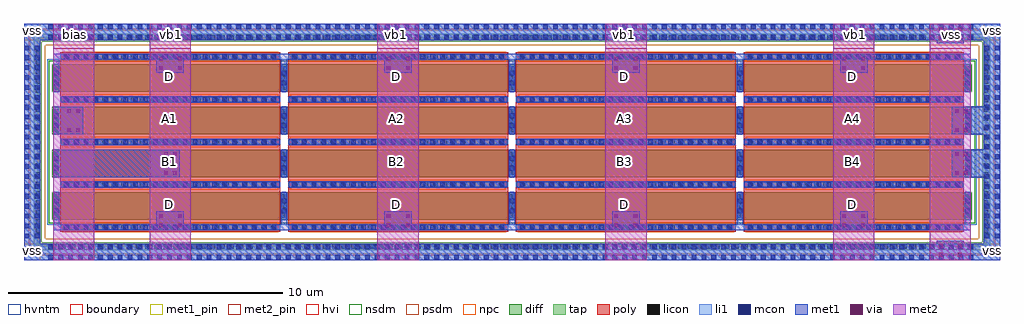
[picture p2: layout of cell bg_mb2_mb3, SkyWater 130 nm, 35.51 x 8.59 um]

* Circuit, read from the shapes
.subckt bg_mb2_mb3 bias vb1 vss
XM1 vb1 vb1 vb1 vss sky130_fd_pr__nfet_g5v0d10v5 w=1 l=8 m=8
XM2 n1 vb1 vb1 vss sky130_fd_pr__nfet_g5v0d10v5 w=1 l=8
XM3 n2 vb1 bias vss sky130_fd_pr__nfet_g5v0d10v5 w=1 l=8
XM4 n3 vb1 n1 vss sky130_fd_pr__nfet_g5v0d10v5 w=1 l=8
XM5 n4 vb1 n2 vss sky130_fd_pr__nfet_g5v0d10v5 w=1 l=8
XM6 n5 vb1 n3 vss sky130_fd_pr__nfet_g5v0d10v5 w=1 l=8
XM7 n6 vb1 n4 vss sky130_fd_pr__nfet_g5v0d10v5 w=1 l=8
XM8 vss vb1 n5 vss sky130_fd_pr__nfet_g5v0d10v5 w=1 l=8
XM9 vss vb1 n6 vss sky130_fd_pr__nfet_g5v0d10v5 w=1 l=8
.ends

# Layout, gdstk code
from math import pi, radians
import gdstk
lib = gdstk.Library(unit=1e-6, precision=1e-09)
def R(c, l, rs):  # rectangles x0, y0, x1, y1
    for r in rs: c.add(gdstk.rectangle(r[:2], r[2:], *l))
def A(c, l, x, y, w, h, nx, ny, dx, dy):  # array of equal rectangles
    R(c, l, [(x+i*dx, y+j*dy, x+i*dx+w, y+j*dy+h) for i in range(nx) for j in range(ny)])
def P(c, l, *ps):  # polygons
    for p in ps: c.add(gdstk.Polygon(p, *l))
diff = (65, 20)
tap = (65, 44)
poly = (66, 20)
licon = (66, 44)
li1 = (67, 20)
mcon = (67, 44)
met1_pin = (68, 16)
met1 = (68, 20)
via = (68, 44)
met2_pin = (69, 16)
met2 = (69, 20)
hvi = (75, 20)
nsdm = (93, 44)
psdm = (94, 20)
npc = (95, 20)
hvntm = (125, 20)
boundary = (235, 4)

via__li_m1 = lib.new_cell('via__LI_M1')
R(via__li_m1, li1, [(0.03,0.03,0.56,0.2)])
R(via__li_m1, mcon, [(0.03,0.03,0.2,0.2), (0.39,0.03,0.56,0.2)])
R(via__li_m1, met1, [(0,0,0.59,0.23)])

via__m1_m2 = lib.new_cell('via__M1_M2')
R(via__m1_m2, met1, [(0,0.05,0.7,0.35)])
R(via__m1_m2, via, [(0.115,0.125,0.265,0.275), (0.435,0.125,0.585,0.275)])
R(via__m1_m2, met2, [(0.05,0,0.65,0.4)])

bg_mb2_mb3_sd_cont = lib.new_cell('bg_mb2_mb3_sd_cont')
R(bg_mb2_mb3_sd_cont, met1, [(0,0.05,0.7,1.05)])
R(bg_mb2_mb3_sd_cont, met2, [(0.05,0,0.65,1.1)])
bg_mb2_mb3_sd_cont.add(gdstk.Reference(via__m1_m2, (0.7,0.4), rotation=pi))
bg_mb2_mb3_sd_cont.add(gdstk.Reference(via__m1_m2, (0.7,1.1), rotation=pi))

sky130_fd_pr__nfet_g5v0d = lib.new_cell('sky130_fd_pr__nfet_g5v0d10v5_VMQRTJ')
A(sky130_fd_pr__nfet_g5v0d, diff, -16.725, -2.825, 33.45, 1, 1, 4, 0, 1.55)
R(sky130_fd_pr__nfet_g5v0d, tap, [(-17.395,-3.935,17.395,-3.645), (-17.395,-3.645,-17.105,3.645), (17.105,-3.645,17.395,3.645), (-17.395,3.645,17.395,3.935)])
A(sky130_fd_pr__nfet_g5v0d, poly, -16.435, -3.265, 8, 6.53, 4, 1, 8.29, 0)
A(sky130_fd_pr__nfet_g5v0d, licon, -16.745, -3.875, 0.17, 0.17, 99, 2, 0.34, 7.58)
A(sky130_fd_pr__nfet_g5v0d, licon, -17.335, -3.315, 0.17, 0.17, 1, 20, 0, 0.34)
A(sky130_fd_pr__nfet_g5v0d, licon, 17.165, -3.315, 0.17, 0.17, 1, 20, 0, 0.34)
A(sky130_fd_pr__nfet_g5v0d, licon, -16.26, -3.185, 0.17, 0.17, 23, 5, 0.34, 1.55)
A(sky130_fd_pr__nfet_g5v0d, licon, -7.97, -3.185, 0.17, 0.17, 23, 5, 0.34, 1.55)
A(sky130_fd_pr__nfet_g5v0d, licon, 0.32, -3.185, 0.17, 0.17, 23, 5, 0.34, 1.55)
A(sky130_fd_pr__nfet_g5v0d, licon, 8.61, -3.185, 0.17, 0.17, 23, 5, 0.34, 1.55)
A(sky130_fd_pr__nfet_g5v0d, licon, -16.665, -2.75, 0.17, 0.17, 5, 3, 8.29, 0.34)
A(sky130_fd_pr__nfet_g5v0d, licon, -16.665, -1.2, 0.17, 0.17, 5, 3, 8.29, 0.34)
A(sky130_fd_pr__nfet_g5v0d, licon, -16.665, 0.35, 0.17, 0.17, 5, 3, 8.29, 0.34)
A(sky130_fd_pr__nfet_g5v0d, licon, -16.665, 1.9, 0.17, 0.17, 5, 3, 8.29, 0.34)
A(sky130_fd_pr__nfet_g5v0d, li1, -16.435, -3.185, 8, 0.17, 4, 5, 8.29, 1.55)
A(sky130_fd_pr__nfet_g5v0d, li1, -16.665, -2.845, 0.17, 1.04, 5, 4, 8.29, 1.55)
R(sky130_fd_pr__nfet_g5v0d, li1, [(-17.335,-3.875,17.335,-3.705), (-17.335,-3.705,-17.165,3.705), (17.165,-3.705,17.335,3.705), (-17.335,3.705,17.335,3.875)])
A(sky130_fd_pr__nfet_g5v0d, mcon, -16.3, -3.185, 0.17, 0.17, 22, 5, 0.36, 1.55)
A(sky130_fd_pr__nfet_g5v0d, mcon, -8.01, -3.185, 0.17, 0.17, 22, 5, 0.36, 1.55)
A(sky130_fd_pr__nfet_g5v0d, mcon, 0.28, -3.185, 0.17, 0.17, 22, 5, 0.36, 1.55)
A(sky130_fd_pr__nfet_g5v0d, mcon, 8.57, -3.185, 0.17, 0.17, 22, 5, 0.36, 1.55)
A(sky130_fd_pr__nfet_g5v0d, mcon, -16.665, -2.59, 0.17, 0.17, 5, 2, 8.29, 0.36)
A(sky130_fd_pr__nfet_g5v0d, mcon, -16.665, -1.04, 0.17, 0.17, 5, 2, 8.29, 0.36)
A(sky130_fd_pr__nfet_g5v0d, mcon, -16.665, 0.51, 0.17, 0.17, 5, 2, 8.29, 0.36)
A(sky130_fd_pr__nfet_g5v0d, mcon, -16.665, 2.06, 0.17, 0.17, 5, 2, 8.29, 0.36)
A(sky130_fd_pr__nfet_g5v0d, met1, -16.415, -3.215, 7.96, 0.23, 4, 5, 8.29, 1.55)
A(sky130_fd_pr__nfet_g5v0d, met1, -16.695, -2.825, 0.23, 1, 5, 4, 8.29, 1.55)
R(sky130_fd_pr__nfet_g5v0d, hvi, [(-17.58,-4.12,17.58,4.12)])
R(sky130_fd_pr__nfet_g5v0d, nsdm, [(-16.85,-2.95,16.85,2.95)])
R(sky130_fd_pr__nfet_g5v0d, psdm, [(-17.52,-4.06,17.52,-3.52), (-17.52,-3.52,-16.98,3.52), (16.98,-3.52,17.52,3.52), (-17.52,3.52,17.52,4.06)])
A(sky130_fd_pr__nfet_g5v0d, npc, -16.36, -3.285, 7.85, 0.37, 4, 5, 8.29, 1.55)
R(sky130_fd_pr__nfet_g5v0d, hvntm, [(-16.91,-3.01,16.91,3.01)])
R(sky130_fd_pr__nfet_g5v0d, boundary, [(-17.25,-3.79,17.25,3.79)])

bg_mb2_mb3 = lib.new_cell('bg_mb2_mb3')
R(bg_mb2_mb3, li1, [(-0.505,-0.505,0.085,8.085), (-0.505,-0.505,35.005,0.085), (34.415,-0.505,35.005,8.085), (33.915,2.495,34.415,3.535), (33.915,4.045,34.415,5.085), (-0.505,7.495,35.005,8.085)])
R(bg_mb2_mb3, met1_pin, [(-0.505,-0.505,0.085,0.085), (34.415,-0.505,35.005,0.085), (-0.505,7.495,0.085,8.085), (34.415,7.495,35.005,8.085)])
R(bg_mb2_mb3, met1, [(-0.505,-0.505,0.085,8.085), (-0.505,-0.505,35.005,0.085), (34.415,-0.505,35.005,8.085), (0.555,2.515,5.165,3.515), (33.945,2.515,34.415,3.515), (0.555,4.065,1.655,5.065), (33.945,4.065,34.415,5.065), (-0.505,7.495,35.005,8.085)])
P(bg_mb2_mb3, met1, [(33.665,0.575),(33.665,0.805),(33.715,0.805),(33.715,0.965),(33.945,0.965),(33.945,0.575)],
  [(0.555,0.575),(0.555,0.965),(0.785,0.965),(0.785,0.805),(0.835,0.805),(0.835,0.575)],
  [(8.795,0.575),(8.795,0.805),(8.845,0.805),(8.845,0.965),(9.075,0.965),(9.075,0.805),(9.125,0.805),(9.125,0.575)],
  [(17.085,0.575),(17.085,0.805),(17.135,0.805),(17.135,0.965),(17.365,0.965),(17.365,0.805),(17.415,0.805),(17.415,0.575)],
  [(25.375,0.575),(25.375,0.805),(25.425,0.805),(25.425,0.965),(25.655,0.965),(25.655,0.805),(25.705,0.805),(25.705,0.575)],
  [(33.715,6.615),(33.715,6.775),(33.665,6.775),(33.665,7.005),(33.945,7.005),(33.945,6.615)],
  [(0.555,6.615),(0.555,7.005),(0.835,7.005),(0.835,6.775),(0.785,6.775),(0.785,6.615)],
  [(8.845,6.615),(8.845,6.775),(8.795,6.775),(8.795,7.005),(9.125,7.005),(9.125,6.775),(9.075,6.775),(9.075,6.615)],
  [(17.135,6.615),(17.135,6.775),(17.085,6.775),(17.085,7.005),(17.415,7.005),(17.415,6.775),(17.365,6.775),(17.365,6.615)],
  [(25.425,6.615),(25.425,6.775),(25.375,6.775),(25.375,7.005),(25.705,7.005),(25.705,6.775),(25.655,6.775),(25.655,6.615)])
A(bg_mb2_mb3, met2_pin, 4.065, 7.19, 1.5, 0.895, 4, 1, 8.29, 0)
R(bg_mb2_mb3, met2_pin, [(0.555,7.19,2.055,8.085), (32.445,7.19,33.945,8.085)])
A(bg_mb2_mb3, met2, 4.065, -0.505, 1.5, 8.59, 4, 1, 8.29, 0)
R(bg_mb2_mb3, met2, [(0.555,-0.505,2.055,8.085), (32.445,-0.505,33.945,8.085)])
bg_mb2_mb3.add(gdstk.Reference(via__li_m1, (0.085,0.49), rotation=pi))
bg_mb2_mb3.add(gdstk.Reference(via__li_m1, (0.085,0.85), rotation=pi))
bg_mb2_mb3.add(gdstk.Reference(via__li_m1, (0.085,1.21), rotation=pi))
bg_mb2_mb3.add(gdstk.Reference(via__li_m1, (0.085,1.57), rotation=pi))
bg_mb2_mb3.add(gdstk.Reference(via__li_m1, (0.085,1.93), rotation=pi))
bg_mb2_mb3.add(gdstk.Reference(via__li_m1, (0.085,2.29), rotation=pi))
bg_mb2_mb3.add(gdstk.Reference(via__li_m1, (0.085,2.65), rotation=pi))
bg_mb2_mb3.add(gdstk.Reference(via__li_m1, (0.085,3.01), rotation=pi))
bg_mb2_mb3.add(gdstk.Reference(via__li_m1, (0.085,3.37), rotation=pi))
bg_mb2_mb3.add(gdstk.Reference(via__li_m1, (0.085,3.73), rotation=pi))
bg_mb2_mb3.add(gdstk.Reference(via__li_m1, (0.085,4.09), rotation=pi))
bg_mb2_mb3.add(gdstk.Reference(via__li_m1, (0.085,4.45), rotation=pi))
bg_mb2_mb3.add(gdstk.Reference(via__li_m1, (0.085,4.81), rotation=pi))
bg_mb2_mb3.add(gdstk.Reference(via__li_m1, (0.085,5.17), rotation=pi))
bg_mb2_mb3.add(gdstk.Reference(via__li_m1, (0.085,5.53), rotation=pi))
bg_mb2_mb3.add(gdstk.Reference(via__li_m1, (0.085,5.89), rotation=pi))
bg_mb2_mb3.add(gdstk.Reference(via__li_m1, (0.085,6.25), rotation=pi))
bg_mb2_mb3.add(gdstk.Reference(via__li_m1, (0.085,6.61), rotation=pi))
bg_mb2_mb3.add(gdstk.Reference(via__li_m1, (0.085,6.97), rotation=pi))
bg_mb2_mb3.add(gdstk.Reference(via__li_m1, (0.085,7.33), rotation=pi))
bg_mb2_mb3.add(gdstk.Reference(bg_mb2_mb3_sd_cont, (4.465,2.465)))
bg_mb2_mb3.add(gdstk.Reference(bg_mb2_mb3_sd_cont, (0.955,4.015)))
bg_mb2_mb3.add(gdstk.Reference(via__li_m1, (34.415,0.49), x_reflection=True))
bg_mb2_mb3.add(gdstk.Reference(via__li_m1, (34.415,0.85), x_reflection=True))
bg_mb2_mb3.add(gdstk.Reference(via__li_m1, (34.415,1.21), x_reflection=True))
bg_mb2_mb3.add(gdstk.Reference(via__li_m1, (34.415,1.57), x_reflection=True))
bg_mb2_mb3.add(gdstk.Reference(via__li_m1, (34.415,1.93), x_reflection=True))
bg_mb2_mb3.add(gdstk.Reference(via__li_m1, (34.415,2.29), x_reflection=True))
bg_mb2_mb3.add(gdstk.Reference(via__li_m1, (34.415,2.65), x_reflection=True))
bg_mb2_mb3.add(gdstk.Reference(via__li_m1, (34.415,3.01), x_reflection=True))
bg_mb2_mb3.add(gdstk.Reference(via__li_m1, (34.415,3.37), x_reflection=True))
bg_mb2_mb3.add(gdstk.Reference(via__li_m1, (34.415,3.73), x_reflection=True))
bg_mb2_mb3.add(gdstk.Reference(via__li_m1, (34.415,4.09), x_reflection=True))
bg_mb2_mb3.add(gdstk.Reference(via__li_m1, (34.415,4.45), x_reflection=True))
bg_mb2_mb3.add(gdstk.Reference(via__li_m1, (34.415,4.81), x_reflection=True))
bg_mb2_mb3.add(gdstk.Reference(via__li_m1, (34.415,5.17), x_reflection=True))
bg_mb2_mb3.add(gdstk.Reference(via__li_m1, (34.415,5.53), x_reflection=True))
bg_mb2_mb3.add(gdstk.Reference(via__li_m1, (34.415,5.89), x_reflection=True))
bg_mb2_mb3.add(gdstk.Reference(via__li_m1, (34.415,6.25), x_reflection=True))
bg_mb2_mb3.add(gdstk.Reference(via__li_m1, (34.415,6.61), x_reflection=True))
bg_mb2_mb3.add(gdstk.Reference(via__li_m1, (34.415,6.97), x_reflection=True))
bg_mb2_mb3.add(gdstk.Reference(via__li_m1, (34.415,7.33), x_reflection=True))
bg_mb2_mb3.add(gdstk.Reference(bg_mb2_mb3_sd_cont, (32.645,0.195), rotation=3*pi/2))
bg_mb2_mb3.add(gdstk.Reference(bg_mb2_mb3_sd_cont, (4.265,1.275), rotation=3*pi/2))
bg_mb2_mb3.add(gdstk.Reference(bg_mb2_mb3_sd_cont, (12.555,1.275), rotation=3*pi/2))
bg_mb2_mb3.add(gdstk.Reference(bg_mb2_mb3_sd_cont, (20.845,1.275), rotation=3*pi/2))
bg_mb2_mb3.add(gdstk.Reference(bg_mb2_mb3_sd_cont, (29.135,1.275), rotation=3*pi/2))
bg_mb2_mb3.add(gdstk.Reference(bg_mb2_mb3_sd_cont, (4.265,7.005), rotation=3*pi/2))
bg_mb2_mb3.add(gdstk.Reference(bg_mb2_mb3_sd_cont, (12.555,7.005), rotation=3*pi/2))
bg_mb2_mb3.add(gdstk.Reference(bg_mb2_mb3_sd_cont, (20.845,7.005), rotation=3*pi/2))
bg_mb2_mb3.add(gdstk.Reference(bg_mb2_mb3_sd_cont, (29.135,7.005), rotation=3*pi/2))
bg_mb2_mb3.add(gdstk.Reference(bg_mb2_mb3_sd_cont, (32.645,8.085), rotation=3*pi/2))
bg_mb2_mb3.add(gdstk.Reference(bg_mb2_mb3_sd_cont, (33.945,2.465), rotation=pi, x_reflection=True))
bg_mb2_mb3.add(gdstk.Reference(bg_mb2_mb3_sd_cont, (33.945,4.015), rotation=pi, x_reflection=True))
bg_mb2_mb3.add(gdstk.Reference(via__li_m1, (0.355,7.495), rotation=pi/2, x_reflection=True))
bg_mb2_mb3.add(gdstk.Reference(via__li_m1, (0.715,7.495), rotation=pi/2, x_reflection=True))
bg_mb2_mb3.add(gdstk.Reference(via__li_m1, (1.075,7.495), rotation=pi/2, x_reflection=True))
bg_mb2_mb3.add(gdstk.Reference(via__li_m1, (1.435,7.495), rotation=pi/2, x_reflection=True))
bg_mb2_mb3.add(gdstk.Reference(via__li_m1, (1.795,7.495), rotation=pi/2, x_reflection=True))
bg_mb2_mb3.add(gdstk.Reference(via__li_m1, (2.155,7.495), rotation=pi/2, x_reflection=True))
bg_mb2_mb3.add(gdstk.Reference(via__li_m1, (2.515,7.495), rotation=pi/2, x_reflection=True))
bg_mb2_mb3.add(gdstk.Reference(via__li_m1, (2.875,7.495), rotation=pi/2, x_reflection=True))
bg_mb2_mb3.add(gdstk.Reference(via__li_m1, (3.235,7.495), rotation=pi/2, x_reflection=True))
bg_mb2_mb3.add(gdstk.Reference(via__li_m1, (3.595,7.495), rotation=pi/2, x_reflection=True))
bg_mb2_mb3.add(gdstk.Reference(via__li_m1, (3.955,7.495), rotation=pi/2, x_reflection=True))
bg_mb2_mb3.add(gdstk.Reference(via__li_m1, (4.315,7.495), rotation=pi/2, x_reflection=True))
bg_mb2_mb3.add(gdstk.Reference(via__li_m1, (4.675,7.495), rotation=pi/2, x_reflection=True))
bg_mb2_mb3.add(gdstk.Reference(via__li_m1, (5.035,7.495), rotation=pi/2, x_reflection=True))
bg_mb2_mb3.add(gdstk.Reference(via__li_m1, (5.395,7.495), rotation=pi/2, x_reflection=True))
bg_mb2_mb3.add(gdstk.Reference(via__li_m1, (5.755,7.495), rotation=pi/2, x_reflection=True))
bg_mb2_mb3.add(gdstk.Reference(via__li_m1, (6.115,7.495), rotation=pi/2, x_reflection=True))
bg_mb2_mb3.add(gdstk.Reference(via__li_m1, (6.475,7.495), rotation=pi/2, x_reflection=True))
bg_mb2_mb3.add(gdstk.Reference(via__li_m1, (6.835,7.495), rotation=pi/2, x_reflection=True))
bg_mb2_mb3.add(gdstk.Reference(via__li_m1, (7.195,7.495), rotation=pi/2, x_reflection=True))
bg_mb2_mb3.add(gdstk.Reference(via__li_m1, (7.555,7.495), rotation=pi/2, x_reflection=True))
bg_mb2_mb3.add(gdstk.Reference(via__li_m1, (7.915,7.495), rotation=pi/2, x_reflection=True))
bg_mb2_mb3.add(gdstk.Reference(via__li_m1, (8.275,7.495), rotation=pi/2, x_reflection=True))
bg_mb2_mb3.add(gdstk.Reference(via__li_m1, (8.635,7.495), rotation=pi/2, x_reflection=True))
bg_mb2_mb3.add(gdstk.Reference(via__li_m1, (8.995,7.495), rotation=pi/2, x_reflection=True))
bg_mb2_mb3.add(gdstk.Reference(via__li_m1, (9.355,7.495), rotation=pi/2, x_reflection=True))
bg_mb2_mb3.add(gdstk.Reference(via__li_m1, (9.715,7.495), rotation=pi/2, x_reflection=True))
bg_mb2_mb3.add(gdstk.Reference(via__li_m1, (10.075,7.495), rotation=pi/2, x_reflection=True))
bg_mb2_mb3.add(gdstk.Reference(via__li_m1, (10.435,7.495), rotation=pi/2, x_reflection=True))
bg_mb2_mb3.add(gdstk.Reference(via__li_m1, (10.795,7.495), rotation=pi/2, x_reflection=True))
bg_mb2_mb3.add(gdstk.Reference(via__li_m1, (11.155,7.495), rotation=pi/2, x_reflection=True))
bg_mb2_mb3.add(gdstk.Reference(via__li_m1, (11.515,7.495), rotation=pi/2, x_reflection=True))
bg_mb2_mb3.add(gdstk.Reference(via__li_m1, (11.875,7.495), rotation=pi/2, x_reflection=True))
bg_mb2_mb3.add(gdstk.Reference(via__li_m1, (12.235,7.495), rotation=pi/2, x_reflection=True))
bg_mb2_mb3.add(gdstk.Reference(via__li_m1, (12.595,7.495), rotation=pi/2, x_reflection=True))
bg_mb2_mb3.add(gdstk.Reference(via__li_m1, (12.955,7.495), rotation=pi/2, x_reflection=True))
bg_mb2_mb3.add(gdstk.Reference(via__li_m1, (13.315,7.495), rotation=pi/2, x_reflection=True))
bg_mb2_mb3.add(gdstk.Reference(via__li_m1, (13.675,7.495), rotation=pi/2, x_reflection=True))
bg_mb2_mb3.add(gdstk.Reference(via__li_m1, (14.035,7.495), rotation=pi/2, x_reflection=True))
bg_mb2_mb3.add(gdstk.Reference(via__li_m1, (14.395,7.495), rotation=pi/2, x_reflection=True))
bg_mb2_mb3.add(gdstk.Reference(via__li_m1, (14.755,7.495), rotation=pi/2, x_reflection=True))
bg_mb2_mb3.add(gdstk.Reference(via__li_m1, (15.115,7.495), rotation=pi/2, x_reflection=True))
bg_mb2_mb3.add(gdstk.Reference(via__li_m1, (15.475,7.495), rotation=pi/2, x_reflection=True))
bg_mb2_mb3.add(gdstk.Reference(via__li_m1, (15.835,7.495), rotation=pi/2, x_reflection=True))
bg_mb2_mb3.add(gdstk.Reference(via__li_m1, (16.195,7.495), rotation=pi/2, x_reflection=True))
bg_mb2_mb3.add(gdstk.Reference(via__li_m1, (16.555,7.495), rotation=pi/2, x_reflection=True))
bg_mb2_mb3.add(gdstk.Reference(via__li_m1, (16.915,7.495), rotation=pi/2, x_reflection=True))
bg_mb2_mb3.add(gdstk.Reference(via__li_m1, (17.275,7.495), rotation=pi/2, x_reflection=True))
bg_mb2_mb3.add(gdstk.Reference(via__li_m1, (17.635,7.495), rotation=pi/2, x_reflection=True))
bg_mb2_mb3.add(gdstk.Reference(via__li_m1, (17.995,7.495), rotation=pi/2, x_reflection=True))
bg_mb2_mb3.add(gdstk.Reference(via__li_m1, (18.355,7.495), rotation=pi/2, x_reflection=True))
bg_mb2_mb3.add(gdstk.Reference(via__li_m1, (18.715,7.495), rotation=pi/2, x_reflection=True))
bg_mb2_mb3.add(gdstk.Reference(via__li_m1, (19.075,7.495), rotation=pi/2, x_reflection=True))
bg_mb2_mb3.add(gdstk.Reference(via__li_m1, (19.435,7.495), rotation=pi/2, x_reflection=True))
bg_mb2_mb3.add(gdstk.Reference(via__li_m1, (19.795,7.495), rotation=pi/2, x_reflection=True))
bg_mb2_mb3.add(gdstk.Reference(via__li_m1, (20.155,7.495), rotation=pi/2, x_reflection=True))
bg_mb2_mb3.add(gdstk.Reference(via__li_m1, (20.515,7.495), rotation=pi/2, x_reflection=True))
bg_mb2_mb3.add(gdstk.Reference(via__li_m1, (20.875,7.495), rotation=pi/2, x_reflection=True))
bg_mb2_mb3.add(gdstk.Reference(via__li_m1, (21.235,7.495), rotation=pi/2, x_reflection=True))
bg_mb2_mb3.add(gdstk.Reference(via__li_m1, (21.595,7.495), rotation=pi/2, x_reflection=True))
bg_mb2_mb3.add(gdstk.Reference(via__li_m1, (21.955,7.495), rotation=pi/2, x_reflection=True))
bg_mb2_mb3.add(gdstk.Reference(via__li_m1, (22.315,7.495), rotation=pi/2, x_reflection=True))
bg_mb2_mb3.add(gdstk.Reference(via__li_m1, (22.675,7.495), rotation=pi/2, x_reflection=True))
bg_mb2_mb3.add(gdstk.Reference(via__li_m1, (23.035,7.495), rotation=pi/2, x_reflection=True))
bg_mb2_mb3.add(gdstk.Reference(via__li_m1, (23.395,7.495), rotation=pi/2, x_reflection=True))
bg_mb2_mb3.add(gdstk.Reference(via__li_m1, (23.755,7.495), rotation=pi/2, x_reflection=True))
bg_mb2_mb3.add(gdstk.Reference(via__li_m1, (24.115,7.495), rotation=pi/2, x_reflection=True))
bg_mb2_mb3.add(gdstk.Reference(via__li_m1, (24.475,7.495), rotation=pi/2, x_reflection=True))
bg_mb2_mb3.add(gdstk.Reference(via__li_m1, (24.835,7.495), rotation=pi/2, x_reflection=True))
bg_mb2_mb3.add(gdstk.Reference(via__li_m1, (25.195,7.495), rotation=pi/2, x_reflection=True))
bg_mb2_mb3.add(gdstk.Reference(via__li_m1, (25.555,7.495), rotation=pi/2, x_reflection=True))
bg_mb2_mb3.add(gdstk.Reference(via__li_m1, (25.915,7.495), rotation=pi/2, x_reflection=True))
bg_mb2_mb3.add(gdstk.Reference(via__li_m1, (26.275,7.495), rotation=pi/2, x_reflection=True))
bg_mb2_mb3.add(gdstk.Reference(via__li_m1, (26.635,7.495), rotation=pi/2, x_reflection=True))
bg_mb2_mb3.add(gdstk.Reference(via__li_m1, (26.995,7.495), rotation=pi/2, x_reflection=True))
bg_mb2_mb3.add(gdstk.Reference(via__li_m1, (27.355,7.495), rotation=pi/2, x_reflection=True))
bg_mb2_mb3.add(gdstk.Reference(via__li_m1, (27.715,7.495), rotation=pi/2, x_reflection=True))
bg_mb2_mb3.add(gdstk.Reference(via__li_m1, (28.075,7.495), rotation=pi/2, x_reflection=True))
bg_mb2_mb3.add(gdstk.Reference(via__li_m1, (28.435,7.495), rotation=pi/2, x_reflection=True))
bg_mb2_mb3.add(gdstk.Reference(via__li_m1, (28.795,7.495), rotation=pi/2, x_reflection=True))
bg_mb2_mb3.add(gdstk.Reference(via__li_m1, (29.155,7.495), rotation=pi/2, x_reflection=True))
bg_mb2_mb3.add(gdstk.Reference(via__li_m1, (29.515,7.495), rotation=pi/2, x_reflection=True))
bg_mb2_mb3.add(gdstk.Reference(via__li_m1, (29.875,7.495), rotation=pi/2, x_reflection=True))
bg_mb2_mb3.add(gdstk.Reference(via__li_m1, (30.235,7.495), rotation=pi/2, x_reflection=True))
bg_mb2_mb3.add(gdstk.Reference(via__li_m1, (30.595,7.495), rotation=pi/2, x_reflection=True))
bg_mb2_mb3.add(gdstk.Reference(via__li_m1, (30.955,7.495), rotation=pi/2, x_reflection=True))
bg_mb2_mb3.add(gdstk.Reference(via__li_m1, (31.315,7.495), rotation=pi/2, x_reflection=True))
bg_mb2_mb3.add(gdstk.Reference(via__li_m1, (31.675,7.495), rotation=pi/2, x_reflection=True))
bg_mb2_mb3.add(gdstk.Reference(via__li_m1, (32.035,7.495), rotation=pi/2, x_reflection=True))
bg_mb2_mb3.add(gdstk.Reference(via__li_m1, (32.395,7.495), rotation=pi/2, x_reflection=True))
bg_mb2_mb3.add(gdstk.Reference(via__li_m1, (32.755,7.495), rotation=pi/2, x_reflection=True))
bg_mb2_mb3.add(gdstk.Reference(via__li_m1, (33.115,7.495), rotation=pi/2, x_reflection=True))
bg_mb2_mb3.add(gdstk.Reference(via__li_m1, (33.475,7.495), rotation=pi/2, x_reflection=True))
bg_mb2_mb3.add(gdstk.Reference(via__li_m1, (33.835,7.495), rotation=pi/2, x_reflection=True))
bg_mb2_mb3.add(gdstk.Reference(via__li_m1, (0.355,0.085), rotation=3*pi/2))
bg_mb2_mb3.add(gdstk.Reference(via__li_m1, (0.715,0.085), rotation=3*pi/2))
bg_mb2_mb3.add(gdstk.Reference(via__li_m1, (1.075,0.085), rotation=3*pi/2))
bg_mb2_mb3.add(gdstk.Reference(via__li_m1, (1.435,0.085), rotation=3*pi/2))
bg_mb2_mb3.add(gdstk.Reference(via__li_m1, (1.795,0.085), rotation=3*pi/2))
bg_mb2_mb3.add(gdstk.Reference(via__li_m1, (2.155,0.085), rotation=3*pi/2))
bg_mb2_mb3.add(gdstk.Reference(via__li_m1, (2.515,0.085), rotation=3*pi/2))
bg_mb2_mb3.add(gdstk.Reference(via__li_m1, (2.875,0.085), rotation=3*pi/2))
bg_mb2_mb3.add(gdstk.Reference(via__li_m1, (3.235,0.085), rotation=3*pi/2))
bg_mb2_mb3.add(gdstk.Reference(via__li_m1, (3.595,0.085), rotation=3*pi/2))
bg_mb2_mb3.add(gdstk.Reference(via__li_m1, (3.955,0.085), rotation=3*pi/2))
bg_mb2_mb3.add(gdstk.Reference(via__li_m1, (4.315,0.085), rotation=3*pi/2))
bg_mb2_mb3.add(gdstk.Reference(via__li_m1, (4.675,0.085), rotation=3*pi/2))
bg_mb2_mb3.add(gdstk.Reference(via__li_m1, (5.035,0.085), rotation=3*pi/2))
bg_mb2_mb3.add(gdstk.Reference(via__li_m1, (5.395,0.085), rotation=3*pi/2))
bg_mb2_mb3.add(gdstk.Reference(via__li_m1, (5.755,0.085), rotation=3*pi/2))
bg_mb2_mb3.add(gdstk.Reference(via__li_m1, (6.115,0.085), rotation=3*pi/2))
bg_mb2_mb3.add(gdstk.Reference(via__li_m1, (6.475,0.085), rotation=3*pi/2))
bg_mb2_mb3.add(gdstk.Reference(via__li_m1, (6.835,0.085), rotation=3*pi/2))
bg_mb2_mb3.add(gdstk.Reference(via__li_m1, (7.195,0.085), rotation=3*pi/2))
bg_mb2_mb3.add(gdstk.Reference(via__li_m1, (7.555,0.085), rotation=3*pi/2))
bg_mb2_mb3.add(gdstk.Reference(via__li_m1, (7.915,0.085), rotation=3*pi/2))
bg_mb2_mb3.add(gdstk.Reference(via__li_m1, (8.275,0.085), rotation=3*pi/2))
bg_mb2_mb3.add(gdstk.Reference(via__li_m1, (8.635,0.085), rotation=3*pi/2))
bg_mb2_mb3.add(gdstk.Reference(via__li_m1, (8.995,0.085), rotation=3*pi/2))
bg_mb2_mb3.add(gdstk.Reference(via__li_m1, (9.355,0.085), rotation=3*pi/2))
bg_mb2_mb3.add(gdstk.Reference(via__li_m1, (9.715,0.085), rotation=3*pi/2))
bg_mb2_mb3.add(gdstk.Reference(via__li_m1, (10.075,0.085), rotation=3*pi/2))
bg_mb2_mb3.add(gdstk.Reference(via__li_m1, (10.435,0.085), rotation=3*pi/2))
bg_mb2_mb3.add(gdstk.Reference(via__li_m1, (10.795,0.085), rotation=3*pi/2))
bg_mb2_mb3.add(gdstk.Reference(via__li_m1, (11.155,0.085), rotation=3*pi/2))
bg_mb2_mb3.add(gdstk.Reference(via__li_m1, (11.515,0.085), rotation=3*pi/2))
bg_mb2_mb3.add(gdstk.Reference(via__li_m1, (11.875,0.085), rotation=3*pi/2))
bg_mb2_mb3.add(gdstk.Reference(via__li_m1, (12.235,0.085), rotation=3*pi/2))
bg_mb2_mb3.add(gdstk.Reference(via__li_m1, (12.595,0.085), rotation=3*pi/2))
bg_mb2_mb3.add(gdstk.Reference(via__li_m1, (12.955,0.085), rotation=3*pi/2))
bg_mb2_mb3.add(gdstk.Reference(via__li_m1, (13.315,0.085), rotation=3*pi/2))
bg_mb2_mb3.add(gdstk.Reference(via__li_m1, (13.675,0.085), rotation=3*pi/2))
bg_mb2_mb3.add(gdstk.Reference(via__li_m1, (14.035,0.085), rotation=3*pi/2))
bg_mb2_mb3.add(gdstk.Reference(via__li_m1, (14.395,0.085), rotation=3*pi/2))
bg_mb2_mb3.add(gdstk.Reference(via__li_m1, (14.755,0.085), rotation=3*pi/2))
bg_mb2_mb3.add(gdstk.Reference(via__li_m1, (15.115,0.085), rotation=3*pi/2))
bg_mb2_mb3.add(gdstk.Reference(via__li_m1, (15.475,0.085), rotation=3*pi/2))
bg_mb2_mb3.add(gdstk.Reference(via__li_m1, (15.835,0.085), rotation=3*pi/2))
bg_mb2_mb3.add(gdstk.Reference(via__li_m1, (16.195,0.085), rotation=3*pi/2))
bg_mb2_mb3.add(gdstk.Reference(via__li_m1, (16.555,0.085), rotation=3*pi/2))
bg_mb2_mb3.add(gdstk.Reference(via__li_m1, (16.915,0.085), rotation=3*pi/2))
bg_mb2_mb3.add(gdstk.Reference(via__li_m1, (17.275,0.085), rotation=3*pi/2))
bg_mb2_mb3.add(gdstk.Reference(via__li_m1, (17.635,0.085), rotation=3*pi/2))
bg_mb2_mb3.add(gdstk.Reference(via__li_m1, (17.995,0.085), rotation=3*pi/2))
bg_mb2_mb3.add(gdstk.Reference(via__li_m1, (18.355,0.085), rotation=3*pi/2))
bg_mb2_mb3.add(gdstk.Reference(via__li_m1, (18.715,0.085), rotation=3*pi/2))
bg_mb2_mb3.add(gdstk.Reference(via__li_m1, (19.075,0.085), rotation=3*pi/2))
bg_mb2_mb3.add(gdstk.Reference(via__li_m1, (19.435,0.085), rotation=3*pi/2))
bg_mb2_mb3.add(gdstk.Reference(via__li_m1, (19.795,0.085), rotation=3*pi/2))
bg_mb2_mb3.add(gdstk.Reference(via__li_m1, (20.155,0.085), rotation=3*pi/2))
bg_mb2_mb3.add(gdstk.Reference(via__li_m1, (20.515,0.085), rotation=3*pi/2))
bg_mb2_mb3.add(gdstk.Reference(via__li_m1, (20.875,0.085), rotation=3*pi/2))
bg_mb2_mb3.add(gdstk.Reference(via__li_m1, (21.235,0.085), rotation=3*pi/2))
bg_mb2_mb3.add(gdstk.Reference(via__li_m1, (21.595,0.085), rotation=3*pi/2))
bg_mb2_mb3.add(gdstk.Reference(via__li_m1, (21.955,0.085), rotation=3*pi/2))
bg_mb2_mb3.add(gdstk.Reference(via__li_m1, (22.315,0.085), rotation=3*pi/2))
bg_mb2_mb3.add(gdstk.Reference(via__li_m1, (22.675,0.085), rotation=3*pi/2))
bg_mb2_mb3.add(gdstk.Reference(via__li_m1, (23.035,0.085), rotation=3*pi/2))
bg_mb2_mb3.add(gdstk.Reference(via__li_m1, (23.395,0.085), rotation=3*pi/2))
bg_mb2_mb3.add(gdstk.Reference(via__li_m1, (23.755,0.085), rotation=3*pi/2))
bg_mb2_mb3.add(gdstk.Reference(via__li_m1, (24.115,0.085), rotation=3*pi/2))
bg_mb2_mb3.add(gdstk.Reference(via__li_m1, (24.475,0.085), rotation=3*pi/2))
bg_mb2_mb3.add(gdstk.Reference(via__li_m1, (24.835,0.085), rotation=3*pi/2))
bg_mb2_mb3.add(gdstk.Reference(via__li_m1, (25.195,0.085), rotation=3*pi/2))
bg_mb2_mb3.add(gdstk.Reference(via__li_m1, (25.555,0.085), rotation=3*pi/2))
bg_mb2_mb3.add(gdstk.Reference(via__li_m1, (25.915,0.085), rotation=3*pi/2))
bg_mb2_mb3.add(gdstk.Reference(via__li_m1, (26.275,0.085), rotation=3*pi/2))
bg_mb2_mb3.add(gdstk.Reference(via__li_m1, (26.635,0.085), rotation=3*pi/2))
bg_mb2_mb3.add(gdstk.Reference(via__li_m1, (26.995,0.085), rotation=3*pi/2))
bg_mb2_mb3.add(gdstk.Reference(via__li_m1, (27.355,0.085), rotation=3*pi/2))
bg_mb2_mb3.add(gdstk.Reference(via__li_m1, (27.715,0.085), rotation=3*pi/2))
bg_mb2_mb3.add(gdstk.Reference(via__li_m1, (28.075,0.085), rotation=3*pi/2))
bg_mb2_mb3.add(gdstk.Reference(via__li_m1, (28.435,0.085), rotation=3*pi/2))
bg_mb2_mb3.add(gdstk.Reference(via__li_m1, (28.795,0.085), rotation=3*pi/2))
bg_mb2_mb3.add(gdstk.Reference(via__li_m1, (29.155,0.085), rotation=3*pi/2))
bg_mb2_mb3.add(gdstk.Reference(via__li_m1, (29.515,0.085), rotation=3*pi/2))
bg_mb2_mb3.add(gdstk.Reference(via__li_m1, (29.875,0.085), rotation=3*pi/2))
bg_mb2_mb3.add(gdstk.Reference(via__li_m1, (30.235,0.085), rotation=3*pi/2))
bg_mb2_mb3.add(gdstk.Reference(via__li_m1, (30.595,0.085), rotation=3*pi/2))
bg_mb2_mb3.add(gdstk.Reference(via__li_m1, (30.955,0.085), rotation=3*pi/2))
bg_mb2_mb3.add(gdstk.Reference(via__li_m1, (31.315,0.085), rotation=3*pi/2))
bg_mb2_mb3.add(gdstk.Reference(via__li_m1, (31.675,0.085), rotation=3*pi/2))
bg_mb2_mb3.add(gdstk.Reference(via__li_m1, (32.035,0.085), rotation=3*pi/2))
bg_mb2_mb3.add(gdstk.Reference(via__li_m1, (32.395,0.085), rotation=3*pi/2))
bg_mb2_mb3.add(gdstk.Reference(via__li_m1, (32.755,0.085), rotation=3*pi/2))
bg_mb2_mb3.add(gdstk.Reference(via__li_m1, (33.115,0.085), rotation=3*pi/2))
bg_mb2_mb3.add(gdstk.Reference(via__li_m1, (33.475,0.085), rotation=3*pi/2))
bg_mb2_mb3.add(gdstk.Reference(via__li_m1, (33.835,0.085), rotation=3*pi/2))
bg_mb2_mb3.add(gdstk.Reference(sky130_fd_pr__nfet_g5v0d, (17.25,3.79)))
bg_mb2_mb3.add(gdstk.Label('A4', (29.645,4.63), layer=83, texttype=44))
bg_mb2_mb3.add(gdstk.Label('A3', (21.355,4.63), layer=83, texttype=44))
bg_mb2_mb3.add(gdstk.Label('A1', (4.775,4.63), layer=83, texttype=44))
bg_mb2_mb3.add(gdstk.Label('B4', (29.645,3.08), layer=83, texttype=44))
bg_mb2_mb3.add(gdstk.Label('B3', (21.355,3.08), layer=83, texttype=44))
bg_mb2_mb3.add(gdstk.Label('B2', (13.065,3.08), layer=83, texttype=44))
bg_mb2_mb3.add(gdstk.Label('B1', (4.775,3.08), layer=83, texttype=44))
bg_mb2_mb3.add(gdstk.Label('A2', (13.065,4.63), layer=83, texttype=44))
bg_mb2_mb3.add(gdstk.Label('D', (4.775,1.53), layer=83, texttype=44))
bg_mb2_mb3.add(gdstk.Label('D', (13.065,1.53), layer=83, texttype=44))
bg_mb2_mb3.add(gdstk.Label('D', (21.355,1.53), layer=83, texttype=44))
bg_mb2_mb3.add(gdstk.Label('D', (29.645,1.53), layer=83, texttype=44))
bg_mb2_mb3.add(gdstk.Label('D', (4.775,6.18), layer=83, texttype=44))
bg_mb2_mb3.add(gdstk.Label('D', (13.065,6.18), layer=83, texttype=44))
bg_mb2_mb3.add(gdstk.Label('D', (21.355,6.18), layer=83, texttype=44))
bg_mb2_mb3.add(gdstk.Label('D', (29.645,6.18), layer=83, texttype=44))
bg_mb2_mb3.add(gdstk.Label('vss', (33.24,7.7), layer=69, texttype=5))
bg_mb2_mb3.add(gdstk.Label('vb1', (4.86,7.7), layer=69, texttype=5))
bg_mb2_mb3.add(gdstk.Label('vb1', (13.06,7.7), layer=69, texttype=5))
bg_mb2_mb3.add(gdstk.Label('vb1', (21.35,7.7), layer=69, texttype=5))
bg_mb2_mb3.add(gdstk.Label('vb1', (29.73,7.7), layer=69, texttype=5))
bg_mb2_mb3.add(gdstk.Label('bias', (1.35,7.7), layer=69, texttype=5))
bg_mb2_mb3.add(gdstk.Label('vss', (-0.205,-0.16), layer=68, texttype=5))
bg_mb2_mb3.add(gdstk.Label('vss', (34.715,-0.16), layer=68, texttype=5))
bg_mb2_mb3.add(gdstk.Label('vss', (-0.205,7.84), layer=68, texttype=5))
bg_mb2_mb3.add(gdstk.Label('vss', (34.715,7.84), layer=68, texttype=5))

lib.write_gds('bg_mb2_mb3.gds')
